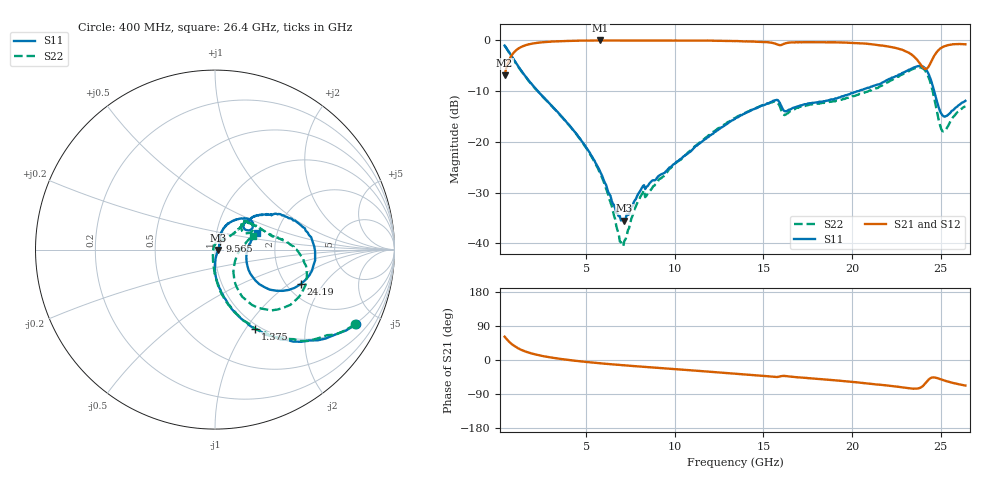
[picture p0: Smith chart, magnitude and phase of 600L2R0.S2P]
!  American Technical Ceramics  Date:  6/18/2004
!  One Norden Lane
!  Huntington Station,  NY.  11746-2102
!  Tel:  (631) 622-4700  Fax:  (631) 622-4748
!  Part Number  600L2R0  Mounting Orientation: Horizontal
!  Description: Ultra Low ESR Microwave capacitors
!  Application: Coupling, Bypass, Tuning, DC Block
!  Filters, Matching
# GHZ S DB R 50
! Freq  |S11|  S11 Ph  |S21|  S21 Ph  |S12|  S12 Ph  |S22|  S22 Ph
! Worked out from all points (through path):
!   401 points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, 400 MHz to 26.4 GHz, reference 50 ohm
!   highest |S21| = -0.02 dB at 5.795 GHz (marker M1); lowest = -6.8 dB at 400 MHz (marker M2)
!   group delay of S21, straight-line fit = 9.98 ps
!   lowest |S11| = -35.5 dB at 7.16 GHz (marker M3), VSWR 1.03, Z = 51.7 - j0.156 ohm
!   |S11| at or under -10 dB: 2.279 GHz to 20.33 GHz (18.05 GHz wide, 160 % of centre); 24.64 GHz to end of sweep
!   |S22| runs from -40.5 to -1.1 dB; largest |S21 - S12| = 0.015
!   S11 on the Smith chart (normalised r, x): 400 MHz: 0.95, -3.79; 1.375 GHz: 0.95, -1.10; 9.565 GHz: 1.05, +0.10; 24.19 GHz: 2.37, -1.24; 26.4 GHz: 1.58, +0.32
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0.4  -1.02 -28.0  -6.85 61.6  -6.90 61.5  -1.07 -28.0
0.79  -3.05 -46.9  -2.98 42.5  -3.04 42.1  -3.16 -47.2
1.375  -6.14 -63.2  -1.24 26.1  -1.27 26.1  -6.22 -63.5
2.545  -11.00 -78.1  -0.38 10.5  -0.39 10.7  -11.06 -79.3
4.755  -19.87 -90.5  -0.05 -3.8  -0.05 -3.9  -19.91 -93.6
5.795  -25.89 -86.1  -0.02 -8.7  -0.04 -8.7  -26.21 -104.2
6.315  -30.24 -74.2  -0.02 -10.8  -0.04 -10.5  -31.29 -113.2
6.9  -34.59 -32.3  -0.02 -13.1  -0.01 -13.0  -39.60 -157.4
7.16  -35.50 -5.2  -0.03 -14.1  -0.01 -14.0  -39.47 153.8
8.135  -29.09 43.0  -0.03 -17.6  -0.01 -17.7  -30.38 90.4
9.11  -26.66 54.9  -0.04 -21.0  -0.02 -21.1  -27.40 72.6
9.565  -25.58 60.9  -0.05 -22.5  -0.03 -22.6  -25.98 66.4
13.4  -15.46 61.7  -0.15 -36.0  -0.12 -36.1  -15.28 41.6
15.675  -11.81 39.5  -0.66 -44.8  -0.67 -45.3  -12.10 33.0
16.195  -13.94 34.0  -0.64 -42.1  -0.66 -42.6  -14.72 35.0
17.755  -12.29 41.0  -0.36 -48.8  -0.46 -49.2  -12.61 41.4
22.11  -7.58 27.7  -1.25 -68.1  -1.30 -67.8  -8.08 6.6
23.605  -5.21 3.3  -3.57 -75.8  -3.60 -75.4  -5.45 -17.0
24.19  -5.77 -21.9  -5.63 -58.9  -5.64 -58.5  -6.30 -43.5
24.645  -10.06 -38.0  -3.02 -46.0  -3.05 -45.8  -11.42 -60.2
25.1  -14.74 -17.1  -1.35 -52.4  -1.38 -52.0  -17.85 -28.7
26.4  -11.91 21.6  -0.78 -67.3  -0.78 -66.9  -13.00 20.1
